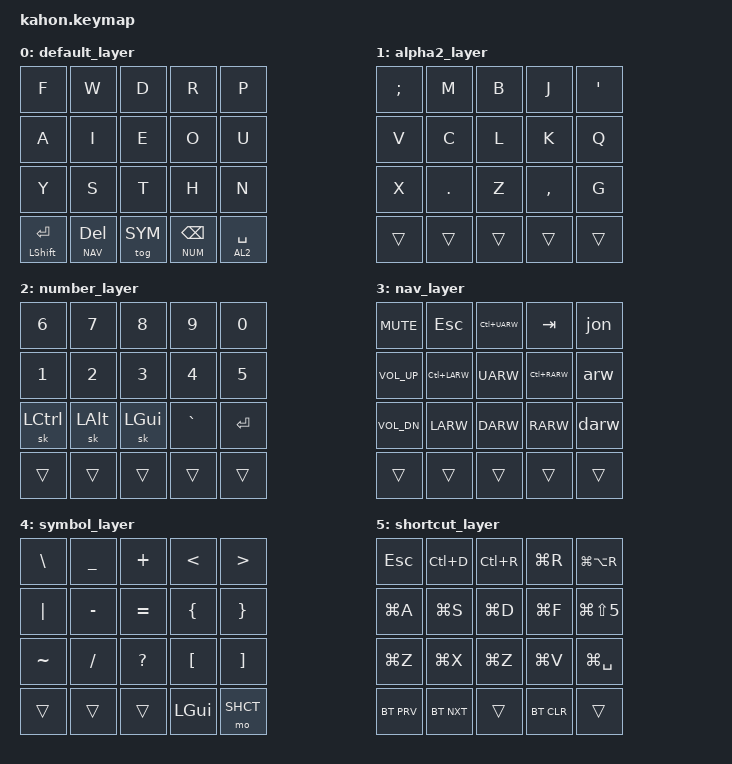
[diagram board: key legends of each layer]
#include <behaviors.dtsi>
#include <dt-bindings/zmk/keys.h>
#include <dt-bindings/zmk/bt.h>

#define AL1 0
#define AL2 1
#define NUM 2
#define NAV 3
#define SYM 4
#define SHCT 5


/ {

    behaviors {
        hm: homerow_mods {
            compatible = "zmk,behavior-hold-tap";
            #binding-cells = <2>;
            tapping-term-ms = <225>;
            flavor = "tap-preferred";
            bindings = <&kp>, <&kp>;
        };
    };

    macros {
        jon: jon {
            compatible = "zmk,behavior-macro";
            #binding-cells = <0>;
            bindings
                = <&macro_tap &kp J &kp O &kp N >
                ;
        };
        arw: arw {
            compatible = "zmk,behavior-macro";
            #binding-cells = <0>;
            bindings
                = <&macro_tap &kp MINUS &kp GT >
                ;
        };
        darw: darw {
            compatible = "zmk,behavior-macro";
            #binding-cells = <0>;
            bindings
                = <&macro_tap &kp EQUAL &kp GT >
                ;
        };
    };

    keymap {
        compatible = "zmk,keymap";

        default_layer {
            bindings = <
                         
                &kp   F     &kp  W         &kp    D         &kp   R        &kp  P      
                &kp   A     &kp  I          &kp   E         &kp   O        &kp  U
               &kp  Y       &kp   S     &kp  T          &kp   H         &kp   N                

                &hm LSHFT RET      &lt NAV DEL    &tog SYM  &lt NUM BKSP    &lt AL2 SPACE                   
            >;
        };
        


        // default_layer {
        //     bindings = <
                         
        //         &kp  F      &kp   O        &kp   I         &kp    U      &kp  P     
        //         &kp  A      &kp    T        &kp E           &kp   N        &kp  D
        //        &kp  Y       &kp   S     &kp    H       &kp  R       &kp    W              

        //         &hm LSHFT RET      &lt NAV DEL    &tog SYM  &lt NUM BKSP    &lt AL2 SPACE                   
        //     >;
        // };

        alpha2_layer {
            bindings = <
                &kp SEMI   &kp M   &kp B   &kp J  &kp QUOT                      
                &kp V   &kp C   &kp L   &kp K   &kp Q                       
                &kp X   &kp DOT   &kp Z   &kp COMMA   &kp  G

                &trans   &trans   &trans   &trans   &trans                  
            >;
        };

        number_layer {
            bindings = <
                &kp N6   &kp N7   &kp N8   &kp N9   &kp N0                      
                &kp N1   &kp N2   &kp N3   &kp N4   &kp N5                       
                &sk LCTRL   &sk LALT   &sk LGUI   &kp GRAVE   &kp RET      

                &trans   &trans   &trans   &trans   &trans                  
            >;
        };

        nav_layer {
            bindings = <
                &kp K_MUTE   &kp ESC       &kp LC(UARW) &kp TAB   &jon                     
                &kp K_VOL_UP   &kp LC(LARW)       &kp UARW &kp LC(RARW)  &arw                       
                &kp K_VOL_DN   &kp LARW       &kp DARW &kp RARW   &darw     

                &trans   &trans   &trans   &trans   &trans                  
            >;
        };

        symbol_layer {
            bindings = <
                &kp BSLH   &kp UNDER       &kp PLUS         &kp LT        &kp GT                   
                &kp PIPE  &kp MINUS       &kp EQUAL        &kp LBRC      &kp RBRC                 
                &kp TILDE  &kp FSLH        &kp QMARK       &kp LBKT      &kp RBKT
                &trans   &trans   &trans   &kp LGUI   &mo SHCT               
            >;
        };

        shortcut_layer {
            bindings = <
                &kp ESC    &kp LC(D)   &kp LC(R)   &kp LG(R)   &kp LG(LA(R))                
                &kp LG(A)  &kp LG(S)       &kp LG(D)         &kp LG(F)   &kp LG(LS(N5))            
                &kp LG(Z) &kp  LG(X)        &kp LG(Z)          &kp LG(V)   &kp LG(SPACE)

                &bt BT_PRV   &bt BT_NXT   &trans   &bt BT_CLR   &trans                  
            >;
        };


    };
};
